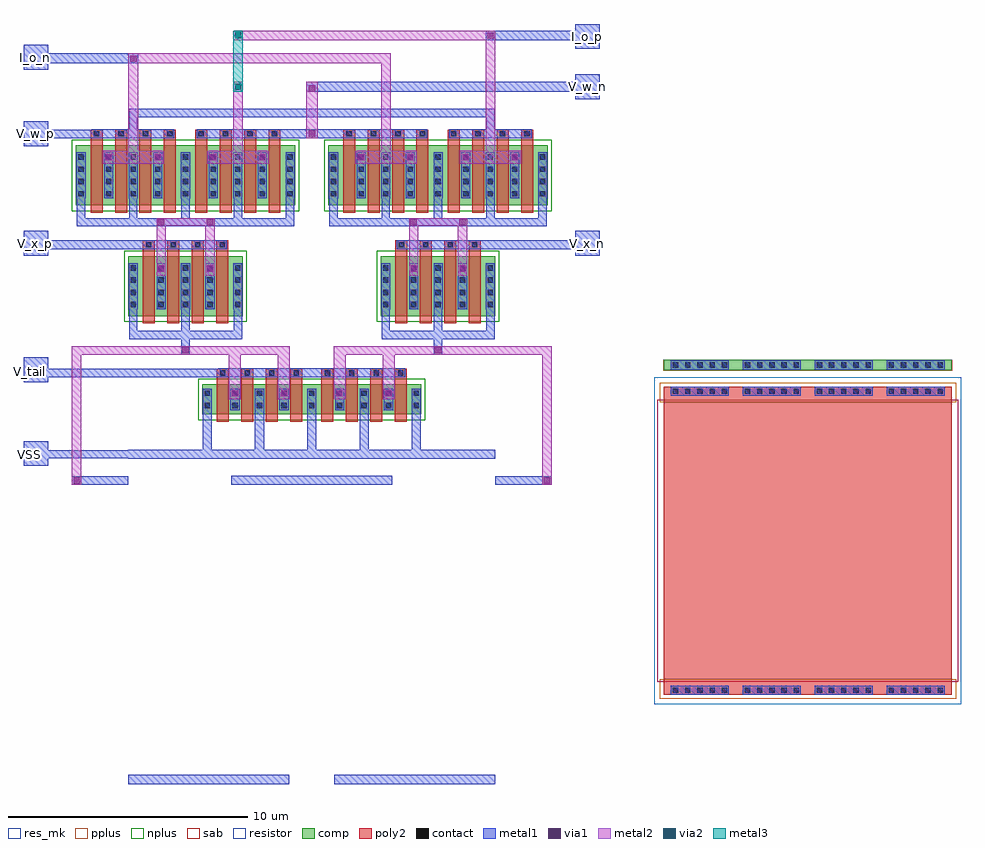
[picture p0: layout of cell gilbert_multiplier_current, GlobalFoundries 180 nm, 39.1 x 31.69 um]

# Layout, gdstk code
from math import pi, radians
import gdstk
lib = gdstk.Library(unit=1e-6, precision=5e-09)
def R(c, l, rs):  # rectangles x0, y0, x1, y1
    for r in rs: c.add(gdstk.rectangle(r[:2], r[2:], *l))
def A(c, l, x, y, w, h, nx, ny, dx, dy):  # array of equal rectangles
    R(c, l, [(x+i*dx, y+j*dy, x+i*dx+w, y+j*dy+h) for i in range(nx) for j in range(ny)])
comp = (22, 0)
poly2 = (30, 0)
pplus = (31, 0)
nplus = (32, 0)
contact = (33, 0)
metal1 = (34, 0)
via1 = (35, 0)
metal2 = (36, 0)
via2 = (38, 0)
metal3 = (42, 0)
sab = (49, 0)
resistor = (62, 0)
res_mk = (110, 5)

nfet = lib.new_cell('nfet')
R(nfet, comp, [(-0.42,0,0,1.25), (0,0,3.94,1.25), (3.94,0,4.36,1.25)])
A(nfet, poly2, 0.19, -0.3, 0.5, 1.85, 4, 1, 1.02, 0)
A(nfet, poly2, 0.19, 1.55, 0.5, 0.36, 4, 1, 1.02, 0)
R(nfet, nplus, [(-0.59,-0.24,4.53,1.49)])
A(nfet, contact, 0.84, 0.26, 0.22, 0.22, 3, 2, 1.02, 0.51)
A(nfet, contact, 0.33, 1.62, 0.22, 0.22, 4, 1, 1.02, 0)
R(nfet, contact, [(-0.32,0.26,-0.1,0.48), (4.04,0.26,4.26,0.48), (-0.32,0.77,-0.1,0.99), (4.04,0.77,4.26,0.99)])
A(nfet, metal1, 0.76, 0.18, 0.38, 0.89, 3, 1, 1.02, 0)
A(nfet, metal1, 0.25, 1.54, 0.38, 0.38, 4, 1, 1.02, 0)
R(nfet, metal1, [(-0.4,0.18,-0.02,1.07), (3.96,0.18,4.34,1.07)])

nfet_1 = lib.new_cell('nfet$1')
R(nfet_1, comp, [(-0.42,0,0,2.5), (0,0,3.94,2.5), (3.94,0,4.36,2.5)])
A(nfet_1, poly2, 0.19, -0.3, 0.5, 3.1, 4, 1, 1.02, 0)
A(nfet_1, poly2, 0.19, 2.8, 0.5, 0.36, 4, 1, 1.02, 0)
R(nfet_1, nplus, [(-0.59,-0.24,4.53,2.74)])
A(nfet_1, contact, -0.32, 0.375, 0.22, 0.22, 1, 4, 0, 0.51)
A(nfet_1, contact, 0.84, 0.375, 0.22, 0.22, 3, 4, 1.02, 0.51)
A(nfet_1, contact, 4.04, 0.375, 0.22, 0.22, 1, 4, 0, 0.51)
A(nfet_1, contact, 0.33, 2.87, 0.22, 0.22, 4, 1, 1.02, 0)
A(nfet_1, metal1, 0.76, 0.295, 0.38, 1.91, 3, 1, 1.02, 0)
A(nfet_1, metal1, 0.25, 2.79, 0.38, 0.38, 4, 1, 1.02, 0)
R(nfet_1, metal1, [(-0.4,0.295,-0.02,2.205), (3.96,0.295,4.34,2.205)])

ppolyf_u_high_rs_resisto = lib.new_cell('ppolyf_u_high_Rs_resistor')
A(ppolyf_u_high_rs_resisto, comp, -1.76, 0, 0.42, 3, 1, 4, 0, 3)
A(ppolyf_u_high_rs_resisto, poly2, -0.64, 0, 12.83, 3, 1, 4, 0, 3)
A(ppolyf_u_high_rs_resisto, pplus, -0.82, -0.18, 0.82, 3.36, 1, 4, 0, 3)
A(ppolyf_u_high_rs_resisto, pplus, 11.55, -0.18, 0.82, 3.36, 1, 4, 0, 3)
A(ppolyf_u_high_rs_resisto, pplus, -1.78, -0.02, 0.46, 3.04, 1, 4, 0, 3)
A(ppolyf_u_high_rs_resisto, contact, -1.66, 0.37, 0.22, 0.22, 1, 5, 0, 0.51)
A(ppolyf_u_high_rs_resisto, contact, -0.57, 0.37, 0.22, 0.22, 1, 5, 0, 0.51)
A(ppolyf_u_high_rs_resisto, contact, 11.9, 0.37, 0.22, 0.22, 1, 5, 0, 0.51)
A(ppolyf_u_high_rs_resisto, contact, -1.66, 3.37, 0.22, 0.22, 1, 5, 0, 0.51)
A(ppolyf_u_high_rs_resisto, contact, -0.57, 3.37, 0.22, 0.22, 1, 5, 0, 0.51)
A(ppolyf_u_high_rs_resisto, contact, 11.9, 3.37, 0.22, 0.22, 1, 5, 0, 0.51)
A(ppolyf_u_high_rs_resisto, contact, -1.66, 6.37, 0.22, 0.22, 1, 5, 0, 0.51)
A(ppolyf_u_high_rs_resisto, contact, -0.57, 6.37, 0.22, 0.22, 1, 5, 0, 0.51)
A(ppolyf_u_high_rs_resisto, contact, 11.9, 6.37, 0.22, 0.22, 1, 5, 0, 0.51)
A(ppolyf_u_high_rs_resisto, contact, -1.66, 9.37, 0.22, 0.22, 1, 5, 0, 0.51)
A(ppolyf_u_high_rs_resisto, contact, -0.57, 9.37, 0.22, 0.22, 1, 5, 0, 0.51)
A(ppolyf_u_high_rs_resisto, contact, 11.9, 9.37, 0.22, 0.22, 1, 5, 0, 0.51)
A(ppolyf_u_high_rs_resisto, metal1, -1.74, 0.29, 0.38, 2.42, 1, 4, 0, 3)
A(ppolyf_u_high_rs_resisto, metal1, -0.65, 0.29, 0.38, 2.42, 1, 4, 0, 3)
A(ppolyf_u_high_rs_resisto, metal1, 11.82, 0.29, 0.38, 2.42, 1, 4, 0, 3)
A(ppolyf_u_high_rs_resisto, sab, -0.1, -0.28, 11.75, 3.56, 1, 4, 0, 3)
A(ppolyf_u_high_rs_resisto, resistor, -1.04, -0.4, 13.63, 3.8, 1, 4, 0, 3)
A(ppolyf_u_high_rs_resisto, res_mk, 0, 0, 11.55, 3, 1, 4, 0, 3)

gilbert_multiplier_curre = lib.new_cell('gilbert_multiplier_current')
A(gilbert_multiplier_curre, metal1, -2.055, 13.675, 0.38, 1.65, 5, 1, 2.18, 0)
R(gilbert_multiplier_curre, metal1, [(-5.165,-0.265,1.555,0.115), (3.435,-0.265,10.155,0.115), (-0.865,12.205,5.855,12.585), (-9.52,13,-8.495,14.035), (-5.165,13.295,10.155,13.675), (-9.52,16.485,-8.495,17.52), (-1.405,16.685,6.395,17.065), (-9.52,21.765,-8.495,22.8), (13.485,21.765,14.51,22.8), (-8.495,22.03,-1.05,22.415), (6.04,22.03,13.485,22.415), (-9.52,26.33,-8.495,27.365), (-6.67,26.655,-3.23,27.035), (-2.31,26.655,7.3,27.035), (8.22,26.655,11.66,27.035), (13.475,28.285,14.5,29.32), (2.255,28.59,13.475,29.025), (-9.52,29.52,-8.495,30.555), (-8.505,29.795,-4.75,30.195), (13.475,30.39,14.5,31.425), (9.745,30.75,13.485,31.15)])
R(gilbert_multiplier_curre, via1, [(-7.44,12.265,-7.18,12.525), (12.17,12.265,12.43,12.525), (-0.835,15.895,-0.575,16.155), (1.22,15.895,1.48,16.155), (3.51,15.895,3.77,16.155), (5.565,15.895,5.825,16.155), (-2.9,17.69,-2.64,17.95), (7.63,17.69,7.89,17.95), (-3.925,21.1,-3.665,21.36), (-1.88,21.1,-1.62,21.36), (6.615,21.1,6.875,21.36), (8.66,21.1,8.92,21.36), (-3.925,23.03,-3.665,23.29), (-1.88,23.03,-1.62,23.29), (6.605,23.03,6.865,23.29), (8.65,23.03,8.91,23.29), (-6.11,25.74,-5.85,26), (-4.055,25.74,-3.795,26), (-1.75,25.74,-1.49,26), (0.3,25.74,0.56,26), (4.42,25.74,4.68,26), (6.475,25.74,6.735,26), (8.78,25.74,9.04,26), (10.83,25.74,11.09,26), (2.37,26.725,2.63,26.985), (2.37,28.605,2.63,28.865), (-5.065,29.85,-4.805,30.11), (9.82,30.805,10.08,31.065)])
R(gilbert_multiplier_curre, metal2, [(-7.505,12.22,-7.11,17.99), (12.1,12.22,12.495,17.99), (-0.96,15.77,-0.465,17.64), (1.075,15.77,1.57,17.64), (3.42,15.77,3.915,17.64), (5.455,15.77,5.95,17.64), (-3.98,20.935,-3.6,23.01), (-1.94,20.935,-1.56,23.01), (6.55,20.935,6.93,23.01), (8.59,20.935,8.97,23.01), (-3.98,23.01,-1.56,23.335), (6.55,23.01,8.97,23.335), (-6.23,25.595,-3.67,26.15), (-1.87,25.595,0.69,26.15), (4.305,25.595,6.865,26.15), (8.665,25.595,11.225,26.15), (2.255,26.655,2.735,29.025)])
R(gilbert_multiplier_curre, via2, [(-0.705,28.675,-0.445,28.935), (-0.705,30.825,-0.445,31.085)])
R(gilbert_multiplier_curre, metal3, [(-0.79,28.605,-0.39,31.15)])
gilbert_multiplier_curre.add(gdstk.FlexPath([(-1.405,16.875),(-8.995,16.875)], 0.35, ends="flush", simple_path=True, layer=34, datatype=0))  # metal1
gilbert_multiplier_curre.add(gdstk.FlexPath([(-5.165,13.485),(-8.985,13.485)], 0.35, ends="flush", simple_path=True, layer=34, datatype=0))  # metal1
gilbert_multiplier_curre.add(gdstk.FlexPath([(-5.165,12.395),(-7.505,12.395)], 0.35, ends="flush", simple_path=True, layer=34, datatype=0))  # metal1
gilbert_multiplier_curre.add(gdstk.FlexPath([(10.155,12.395),(12.495,12.395)], 0.35, ends="flush", simple_path=True, layer=34, datatype=0))  # metal1
gilbert_multiplier_curre.add(gdstk.FlexPath([(-4.95,19.535),(-4.95,18.455),(-0.59,18.455),(-0.59,19.535)], 0.35, ends="flush", simple_path=True, layer=34, datatype=0))  # metal1
gilbert_multiplier_curre.add(gdstk.FlexPath([(-2.77,19.535),(-2.77,18.63)], 0.35, ends="flush", simple_path=True, layer=34, datatype=0))  # metal1
gilbert_multiplier_curre.add(gdstk.FlexPath([(-2.77,18.28),(-2.77,17.64)], 0.35, ends="flush", simple_path=True, layer=34, datatype=0))  # metal1
gilbert_multiplier_curre.add(gdstk.FlexPath([(5.58,19.535),(5.58,18.455),(9.94,18.455),(9.94,19.535)], 0.35, ends="flush", simple_path=True, layer=34, datatype=0))  # metal1
gilbert_multiplier_curre.add(gdstk.FlexPath([(7.76,19.535),(7.76,18.63)], 0.35, ends="flush", simple_path=True, layer=34, datatype=0))  # metal1
gilbert_multiplier_curre.add(gdstk.FlexPath([(7.76,18.28),(7.76,17.64)], 0.35, ends="flush", simple_path=True, layer=34, datatype=0))  # metal1
gilbert_multiplier_curre.add(gdstk.FlexPath([(-7.13,24.16),(-7.13,23.16),(1.59,23.16),(1.59,24.16),(1.59,24.16)], 0.35, ends="flush", simple_path=True, layer=34, datatype=0))  # metal1
gilbert_multiplier_curre.add(gdstk.FlexPath([(3.4,24.16),(3.4,23.16),(12.12,23.16),(12.12,24.16),(12.12,24.16)], 0.35, ends="flush", simple_path=True, layer=34, datatype=0))  # metal1
gilbert_multiplier_curre.add(gdstk.FlexPath([(-4.95,24.16),(-4.95,23.335)], 0.35, ends="flush", simple_path=True, layer=34, datatype=0))  # metal1
gilbert_multiplier_curre.add(gdstk.FlexPath([(-2.77,24.16),(-2.77,23.335)], 0.35, ends="flush", simple_path=True, layer=34, datatype=0))  # metal1
gilbert_multiplier_curre.add(gdstk.FlexPath([(-0.59,24.16),(-0.59,23.335)], 0.35, ends="flush", simple_path=True, layer=34, datatype=0))  # metal1
gilbert_multiplier_curre.add(gdstk.FlexPath([(5.58,24.16),(5.58,23.335)], 0.35, ends="flush", simple_path=True, layer=34, datatype=0))  # metal1
gilbert_multiplier_curre.add(gdstk.FlexPath([(7.76,24.16),(7.76,23.335)], 0.35, ends="flush", simple_path=True, layer=34, datatype=0))  # metal1
gilbert_multiplier_curre.add(gdstk.FlexPath([(9.94,24.16),(9.94,23.335)], 0.35, ends="flush", simple_path=True, layer=34, datatype=0))  # metal1
gilbert_multiplier_curre.add(gdstk.FlexPath([(-6.67,26.845),(-8.495,26.845)], 0.35, ends="flush", simple_path=True, layer=34, datatype=0))  # metal1
gilbert_multiplier_curre.add(gdstk.FlexPath([(9.94,27.035),(9.94,27.71),(-4.95,27.71),(-4.95,27.035)], 0.35, ends="flush", simple_path=True, layer=34, datatype=0))  # metal1
gilbert_multiplier_curre.add(gdstk.FlexPath([(-7.11,17.815),(1.57,17.815)], 0.35, ends="flush", simple_path=True, layer=36, datatype=0))  # metal2
gilbert_multiplier_curre.add(gdstk.FlexPath([(12.1,17.815),(3.42,17.815)], 0.35, ends="flush", simple_path=True, layer=36, datatype=0))  # metal2
gilbert_multiplier_curre.add(gdstk.FlexPath([(-4.95,26.15),(-4.95,29.995),(5.585,29.995),(5.585,26.15)], 0.4, ends="flush", simple_path=True, layer=36, datatype=0))  # metal2
gilbert_multiplier_curre.add(gdstk.FlexPath([(-0.59,26.15),(-0.59,29.025)], 0.4, ends="flush", simple_path=True, layer=36, datatype=0))  # metal2
gilbert_multiplier_curre.add(gdstk.FlexPath([(9.945,26.15),(9.945,30.95),(-0.79,30.95)], 0.4, ends="flush", simple_path=True, layer=36, datatype=0))  # metal2
gilbert_multiplier_curre.add(gdstk.Reference(nfet, (-1.655,15.145)))
gilbert_multiplier_curre.add(gdstk.Reference(nfet, (2.705,15.145)))
gilbert_multiplier_curre.add(gdstk.Reference(nfet_1, (-4.74,19.24)))
gilbert_multiplier_curre.add(gdstk.Reference(nfet_1, (5.79,19.24)))
gilbert_multiplier_curre.add(gdstk.Reference(nfet_1, (3.61,23.865)))
gilbert_multiplier_curre.add(gdstk.Reference(nfet_1, (7.97,23.865)))
gilbert_multiplier_curre.add(gdstk.Reference(nfet_1, (-6.92,23.865)))
gilbert_multiplier_curre.add(gdstk.Reference(nfet_1, (-2.56,23.865)))
gilbert_multiplier_curre.add(gdstk.Reference(ppolyf_u_high_rs_resisto, (17.18,15.655), rotation=3*pi/2))
gilbert_multiplier_curre.add(gdstk.Label('V_tail', (-9.295,16.92), layer=34, texttype=10))
gilbert_multiplier_curre.add(gdstk.Label('VSS', (-9.275,13.465), layer=34, texttype=10))
gilbert_multiplier_curre.add(gdstk.Label('V_x_p', (-9.01,22.28), layer=34, texttype=10))
gilbert_multiplier_curre.add(gdstk.Label('V_x_n', (13.995,22.28), layer=34, texttype=10))
gilbert_multiplier_curre.add(gdstk.Label('V_w_p', (-9.01,26.845), layer=34, texttype=10))
gilbert_multiplier_curre.add(gdstk.Label('V_w_n', (13.985,28.8), layer=34, texttype=10))
gilbert_multiplier_curre.add(gdstk.Label('I_o_n', (-9.01,30.035), layer=34, texttype=10))
gilbert_multiplier_curre.add(gdstk.Label('I_o_p', (13.985,30.905), layer=34, texttype=10))

lib.write_gds('gilbert_multiplier_current.gds')
